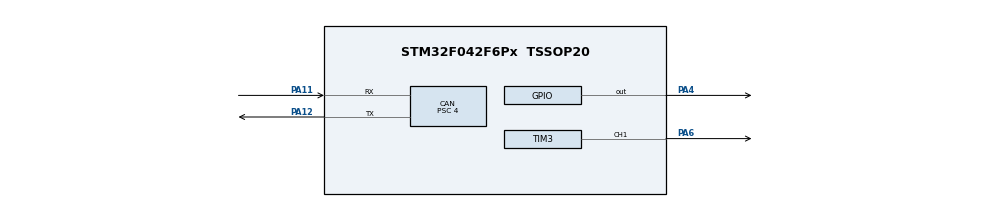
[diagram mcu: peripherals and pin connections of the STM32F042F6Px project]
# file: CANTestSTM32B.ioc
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CAN.BS1=CAN_BS1_8TQ
CAN.BS2=CAN_BS2_7TQ
CAN.CalculateBaudRate=125000
CAN.CalculateTimeBit=8000
CAN.CalculateTimeQuantum=500.0
CAN.Mode=CAN_MODE_NORMAL
CAN.Prescaler=4
CAN.SJW=CAN_SJW_4TQ
Mcu.Family=STM32F0
Mcu.Name=STM32F042F6Px
Mcu.Package=TSSOP20
PA11.Mode=CAN_Activate
PA11.Signal=CAN_RX
PA12.Mode=CAN_Activate
PA12.Signal=CAN_TX
PA13.Mode=Serial_Wire
PA13.Signal=SYS_SWDIO
PA14.Mode=Serial_Wire
PA14.Signal=SYS_SWCLK
PA4.Signal=GPIO_Output
PA6.Signal=S_TIM3_CH1
ProjectManager.HeapSize=0x200
ProjectManager.StackSize=0x400
ProjectManager.TargetToolchain=STM32CubeIDE
SH.S_TIM3_CH1.0=TIM3_CH1,PWM Generation1 CH1
TIM3.Channel-PWM\ Generation1\ CH1=TIM_CHANNEL_1
TIM3.Period=100-1
TIM3.Prescaler=16-1
TIM3.Pulse-PWM\ Generation1\ CH1=50
VP_SYS_VS_PINREMAP.Mode=PINREMAP
VP_TIM3_VS_ClockSourceINT.Mode=Internal
board=custom

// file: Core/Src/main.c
/* USER CODE BEGIN Header */
/**
 ******************************************************************************
 * @file           : main.c
 * @brief          : Main program body
 ******************************************************************************
 * @attention
 *
 * Copyright (c) 2025 STMicroelectronics.
 * All rights reserved.
 *
 * This software is licensed under terms that can be found in the LICENSE file
 * in the root directory of this software component.
 * If no LICENSE file comes with this software, it is provided AS-IS.
 *
 ******************************************************************************
 */
/* USER CODE END Header */
#include "main.h"

CAN_HandleTypeDef hcan;

TIM_HandleTypeDef htim3;

void SystemClock_Config(void);
static void MX_GPIO_Init(void);
static void MX_CAN_Init(void);
static void MX_TIM3_Init(void);
/* USER CODE BEGIN PFP */
void blink_PA4(uint32_t a, uint32_t b, uint32_t c) {
  HAL_GPIO_WritePin(GPIOA, GPIO_PIN_4, GPIO_PIN_SET);
  HAL_Delay(a);
  HAL_GPIO_WritePin(GPIOA, GPIO_PIN_4, GPIO_PIN_RESET);
  HAL_Delay(b);
  HAL_GPIO_WritePin(GPIOA, GPIO_PIN_4, GPIO_PIN_SET);
  HAL_Delay(c);
  HAL_GPIO_WritePin(GPIOA, GPIO_PIN_4, GPIO_PIN_RESET);
}
void blinkn_PA4(uint32_t count, uint32_t delay) {
  for (uint32_t i = 0; i < count - 1; i++) {
    HAL_GPIO_WritePin(GPIOA, GPIO_PIN_4, GPIO_PIN_SET);
    HAL_Delay(delay);
    HAL_GPIO_WritePin(GPIOA, GPIO_PIN_4, GPIO_PIN_RESET);
    HAL_Delay(delay);
  }
  HAL_GPIO_WritePin(GPIOA, GPIO_PIN_4, GPIO_PIN_SET);
  HAL_Delay(delay);
  HAL_GPIO_WritePin(GPIOA, GPIO_PIN_4, GPIO_PIN_RESET);
}
/* USER CODE END PFP */

int main(void)
{

  /* MCU Configuration--------------------------------------------------------*/

  /* Reset of all peripherals, Initializes the Flash interface and the Systick. */
  HAL_Init();

  /* Configure the system clock */
  SystemClock_Config();

  /* Initialize all configured peripherals */
  MX_GPIO_Init();
  MX_CAN_Init();
  MX_TIM3_Init();
  /* USER CODE BEGIN 2 */
  //HAL_GPIO_WritePin(GPIOA, GPIO_PIN_7, GPIO_PIN_RESET);
  // Set CAN MCR DBF (Debug Freeze) to 0 (CAN working during debug)
  CLEAR_BIT(hcan.Instance->MCR, 1UL << 16U);
  CAN_FilterTypeDef filter = {
    FilterIdHigh : 0x0000,
    FilterIdLow : 0x0000,
    FilterMaskIdHigh : 0x0000,
    FilterMaskIdLow : 0x0000,
    FilterFIFOAssignment : CAN_FILTER_FIFO0,
    FilterBank : 0,
    FilterMode : CAN_FILTERMODE_IDMASK,
    FilterScale : CAN_FILTERSCALE_16BIT,
    FilterActivation : CAN_FILTER_ENABLE
  };
  HAL_CAN_ConfigFilter(&hcan, &filter);
  HAL_CAN_Start(&hcan);
  CAN_TxHeaderTypeDef txHeader = {
    StdId : 0x5F2,
    IDE : CAN_ID_STD,
    RTR : CAN_RTR_DATA,
    DLC : 1,
    TransmitGlobalTime : DISABLE
  };
  uint8_t txData[8] = {0, 0, 0, 0, 0, 0, 0, 0};
  uint32_t txMailbox;
  CAN_RxHeaderTypeDef rxHeader;
  uint8_t rxData[8];

  uint32_t sendTime = 0xFFFFFFFF;
  uint8_t counter = 0;

  if (HAL_TIM_PWM_Start(&htim3, TIM_CHANNEL_1) != HAL_OK)
  {
  Error_Handler();
  }
  /* USER CODE END 2 */

  /* Infinite loop */
  /* USER CODE BEGIN WHILE */
  while (1) {
	  /*for(int i=0; i<=100; i++){
	  		  TIM2->CCR2 = i;
	  		  HAL_Delay(50);
	  	  }*/
    if (HAL_CAN_GetRxFifoFillLevel(&hcan, CAN_RX_FIFO0) > 0 && HAL_CAN_GetRxMessage(&hcan, CAN_RX_FIFO0, &rxHeader, rxData) ==
            HAL_OK) {
      counter = (rxData[0] + 1) % 0xFF;
      sendTime = HAL_GetTick() + 1000;

      HAL_GPIO_WritePin(GPIOA, GPIO_PIN_4, GPIO_PIN_SET);
      HAL_Delay(100);
      HAL_GPIO_WritePin(GPIOA, GPIO_PIN_4, GPIO_PIN_RESET);
    }

    if (HAL_GetTick() > sendTime) {
      txData[0] = counter;
      if (HAL_CAN_GetTxMailboxesFreeLevel(&hcan) > 0) HAL_CAN_AddTxMessage(&hcan, &txHeader, txData, &txMailbox);
      sendTime = 0xFFFFFFFF;

      HAL_GPIO_WritePin(GPIOA, GPIO_PIN_4, GPIO_PIN_SET);
      HAL_Delay(100);
      HAL_GPIO_WritePin(GPIOA, GPIO_PIN_4, GPIO_PIN_RESET);
      HAL_Delay(100);
      HAL_GPIO_WritePin(GPIOA, GPIO_PIN_4, GPIO_PIN_SET);
      HAL_Delay(100);
      HAL_GPIO_WritePin(GPIOA, GPIO_PIN_4, GPIO_PIN_RESET);
    }
    /* USER CODE END WHILE */

  }
}

void SystemClock_Config(void)
{
  RCC_OscInitTypeDef RCC_OscInitStruct = {0};
  RCC_ClkInitTypeDef RCC_ClkInitStruct = {0};

  /** Initializes the RCC Oscillators according to the specified parameters
  * in the RCC_OscInitTypeDef structure.
  */
  RCC_OscInitStruct.OscillatorType = RCC_OSCILLATORTYPE_HSI;
  RCC_OscInitStruct.HSIState = RCC_HSI_ON;
  RCC_OscInitStruct.HSICalibrationValue = RCC_HSICALIBRATION_DEFAULT;
  RCC_OscInitStruct.PLL.PLLState = RCC_PLL_NONE;
  if (HAL_RCC_OscConfig(&RCC_OscInitStruct) != HAL_OK)
  {
    Error_Handler();
  }

  /** Initializes the CPU, AHB and APB buses clocks
  */
  RCC_ClkInitStruct.ClockType = RCC_CLOCKTYPE_HCLK|RCC_CLOCKTYPE_SYSCLK
                              |RCC_CLOCKTYPE_PCLK1;
  RCC_ClkInitStruct.SYSCLKSource = RCC_SYSCLKSOURCE_HSI;
  RCC_ClkInitStruct.AHBCLKDivider = RCC_SYSCLK_DIV1;
  RCC_ClkInitStruct.APB1CLKDivider = RCC_HCLK_DIV1;

  if (HAL_RCC_ClockConfig(&RCC_ClkInitStruct, FLASH_LATENCY_0) != HAL_OK)
  {
    Error_Handler();
  }
}

static void MX_CAN_Init(void)
{

  hcan.Instance = CAN;
  hcan.Init.Prescaler = 4;
  hcan.Init.Mode = CAN_MODE_NORMAL;
  hcan.Init.SyncJumpWidth = CAN_SJW_4TQ;
  hcan.Init.TimeSeg1 = CAN_BS1_8TQ;
  hcan.Init.TimeSeg2 = CAN_BS2_7TQ;
  hcan.Init.TimeTriggeredMode = DISABLE;
  hcan.Init.AutoBusOff = DISABLE;
  hcan.Init.AutoWakeUp = DISABLE;
  hcan.Init.AutoRetransmission = DISABLE;
  hcan.Init.ReceiveFifoLocked = DISABLE;
  hcan.Init.TransmitFifoPriority = DISABLE;
  if (HAL_CAN_Init(&hcan) != HAL_OK)
  {
    Error_Handler();
  }

}

static void MX_TIM3_Init(void)
{

  TIM_ClockConfigTypeDef sClockSourceConfig = {0};
  TIM_MasterConfigTypeDef sMasterConfig = {0};
  TIM_OC_InitTypeDef sConfigOC = {0};

  htim3.Instance = TIM3;
  htim3.Init.Prescaler = 16-1;
  htim3.Init.CounterMode = TIM_COUNTERMODE_UP;
  htim3.Init.Period = 100-1;
  htim3.Init.ClockDivision = TIM_CLOCKDIVISION_DIV1;
  htim3.Init.AutoReloadPreload = TIM_AUTORELOAD_PRELOAD_DISABLE;
  if (HAL_TIM_Base_Init(&htim3) != HAL_OK)
  {
    Error_Handler();
  }
  sClockSourceConfig.ClockSource = TIM_CLOCKSOURCE_INTERNAL;
  if (HAL_TIM_ConfigClockSource(&htim3, &sClockSourceConfig) != HAL_OK)
  {
    Error_Handler();
  }
  if (HAL_TIM_PWM_Init(&htim3) != HAL_OK)
  {
    Error_Handler();
  }
  sMasterConfig.MasterOutputTrigger = TIM_TRGO_RESET;
  sMasterConfig.MasterSlaveMode = TIM_MASTERSLAVEMODE_DISABLE;
  if (HAL_TIMEx_MasterConfigSynchronization(&htim3, &sMasterConfig) != HAL_OK)
  {
    Error_Handler();
  }
  sConfigOC.OCMode = TIM_OCMODE_PWM1;
  sConfigOC.Pulse = 50;
  sConfigOC.OCPolarity = TIM_OCPOLARITY_HIGH;
  sConfigOC.OCFastMode = TIM_OCFAST_DISABLE;
  if (HAL_TIM_PWM_ConfigChannel(&htim3, &sConfigOC, TIM_CHANNEL_1) != HAL_OK)
  {
    Error_Handler();
  }
  HAL_TIM_MspPostInit(&htim3);

}

static void MX_GPIO_Init(void)
{
  GPIO_InitTypeDef GPIO_InitStruct = {0};

  /* GPIO Ports Clock Enable */
  __HAL_RCC_GPIOA_CLK_ENABLE();

  /*Configure GPIO pin Output Level */
  HAL_GPIO_WritePin(GPIOA, GPIO_PIN_4, GPIO_PIN_RESET);

  /*Configure GPIO pin : PA4 */
  GPIO_InitStruct.Pin = GPIO_PIN_4;
  GPIO_InitStruct.Mode = GPIO_MODE_OUTPUT_PP;
  GPIO_InitStruct.Pull = GPIO_NOPULL;
  GPIO_InitStruct.Speed = GPIO_SPEED_FREQ_LOW;
  HAL_GPIO_Init(GPIOA, &GPIO_InitStruct);

}

void Error_Handler(void)
{
  __disable_irq();
  while (1) {
  }
}

#ifdef  USE_FULL_ASSERT
/**
  * @brief  Reports the name of the source file and the source line number
  *         where the assert_param error has occurred.
  * @param  file: pointer to the source file name
  * @param  line: assert_param error line source number
  * @retval None
  */
void assert_failed(uint8_t *file, uint32_t line)
{
  /* USER CODE BEGIN 6 */
  /* User can add his own implementation to report the file name and line
     number, ex: printf("Wrong parameters value: file %s on line %d\r\n", file,
     line) */
  /* USER CODE END 6 */
}
#endif /* USE_FULL_ASSERT */
